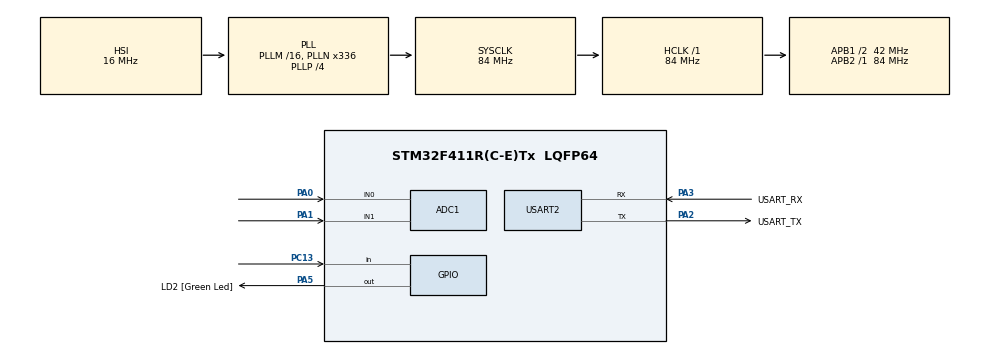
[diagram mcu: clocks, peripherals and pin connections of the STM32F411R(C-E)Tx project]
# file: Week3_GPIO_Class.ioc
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ADC1.Channel-0\#ChannelRegularConversion=ADC_CHANNEL_0
ADC1.NbrOfConversionFlag=1
ADC1.Rank-0\#ChannelRegularConversion=1
ADC1.SamplingTime-0\#ChannelRegularConversion=ADC_SAMPLETIME_3CYCLES
ADC1.master=1
Mcu.Family=STM32F4
Mcu.Name=STM32F411R(C-E)Tx
Mcu.Package=LQFP64
NVIC.PriorityGroup=NVIC_PRIORITYGROUP_0
PA0-WKUP.Signal=ADCx_IN0
PA1.Signal=ADCx_IN1
PA13.GPIO_Label=TMS
PA13.Mode=Serial_Wire
PA13.Signal=SYS_JTMS-SWDIO
PA14.GPIO_Label=TCK
PA14.Mode=Serial_Wire
PA14.Signal=SYS_JTCK-SWCLK
PA2.GPIO_Label=USART_TX
PA2.Mode=Asynchronous
PA2.Signal=USART2_TX
PA3.GPIO_Label=USART_RX
PA3.Mode=Asynchronous
PA3.Signal=USART2_RX
PA5.GPIO_Label=LD2 [Green Led]
PA5.Signal=GPIO_Output
PB3.GPIO_Label=SWO
PB3.Signal=SYS_JTDO-SWO
PC13-ANTI_TAMP.Signal=GPIO_Input
PC14-OSC32_IN.Mode=LSE-External-Oscillator
PC14-OSC32_IN.Signal=RCC_OSC32_IN
PC15-OSC32_OUT.Mode=LSE-External-Oscillator
PC15-OSC32_OUT.Signal=RCC_OSC32_OUT
PH0\ -\ OSC_IN.Mode=HSE-External-Clock-Source
PH0\ -\ OSC_IN.Signal=RCC_OSC_IN
PH1\ -\ OSC_OUT.Mode=HSE-External-Clock-Source
PH1\ -\ OSC_OUT.Signal=RCC_OSC_OUT
ProjectManager.HeapSize=0x200
ProjectManager.StackSize=0x400
ProjectManager.TargetToolchain=STM32CubeIDE
RCC.48MHZClocksFreq_Value=84000000
RCC.AHBFreq_Value=84000000
RCC.APB1CLKDivider=RCC_HCLK_DIV2
RCC.APB1Freq_Value=42000000
RCC.APB1TimFreq_Value=84000000
RCC.APB2Freq_Value=84000000
RCC.APB2TimFreq_Value=84000000
RCC.CortexFreq_Value=84000000
RCC.FLatency-AdvancedSettings=FLASH_LATENCY_2
RCC.HCLKFreq_Value=84000000
RCC.HSE_VALUE=8000000
RCC.HSI_VALUE=16000000
RCC.PLLN=336
RCC.PLLP=RCC_PLLP_DIV4
RCC.SYSCLKFreq_VALUE=84000000
RCC.SYSCLKSource=RCC_SYSCLKSOURCE_PLLCLK
RCC.VCOOutputFreq_Value=336000000
SH.ADCx_IN0.0=ADC1_IN0,IN0
SH.ADCx_IN1.0=ADC1_IN1,IN1
USART2.VirtualMode=VM_ASYNC
VP_ADC1_TempSens_Input.Mode=IN-TempSens
board=NUCLEO-F411RE

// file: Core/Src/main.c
/* USER CODE BEGIN Header */
/**
  ******************************************************************************
  * @file           : main.c
  * @brief          : Main program body
  ******************************************************************************
  * @attention
  *
  * <h2><center>&copy; Copyright (c) 2021 STMicroelectronics.
  * All rights reserved.</center></h2>
  *
  * This software component is licensed by ST under BSD 3-Clause license,
  * the "License"; You may not use this file except in compliance with the
  * License. You may obtain a copy of the License at:
  *                        opensource.org/licenses/BSD-3-Clause
  *
  ******************************************************************************
  */
/* USER CODE END Header */
#include "main.h"

ADC_HandleTypeDef hadc1;

UART_HandleTypeDef huart2;

/* USER CODE BEGIN PV */
uint16_t adcdata[2] = { 0 };
typedef struct
{
	ADC_ChannelConfTypeDef Config;
	uint32_t Data;
} ADCStructure;

ADCStructure ADCChannel[3]={0};
GPIO_PinState SwitchState[2];
uint16_t ADCOutputConverted =0;
uint16_t ADCMode =1;

/* USER CODE END PV */

void SystemClock_Config(void);
static void MX_GPIO_Init(void);
static void MX_USART2_UART_Init(void);
static void MX_ADC1_Init(void);
/* USER CODE BEGIN PFP */
void ADCPollingMethodInit();
void ADCPollingMethodUpdate();
/* USER CODE END PFP */

int main(void)
{

  /* MCU Configuration--------------------------------------------------------*/

  /* Reset of all peripherals, Initializes the Flash interface and the Systick. */
  HAL_Init();

  /* Configure the system clock */
  SystemClock_Config();

  /* Initialize all configured peripherals */
  MX_GPIO_Init();
  MX_USART2_UART_Init();
  MX_ADC1_Init();
  /* USER CODE BEGIN 2 */
  ADCPollingMethodInit();

  /* USER CODE END 2 */

  /* Infinite loop */
  while (1)
  {

    /* USER CODE BEGIN 3 */
	  //read analog
	  ADCPollingMethodUpdate();
	  SwitchState[0] = HAL_GPIO_ReadPin(GPIOC, GPIO_PIN_13);
	  if (SwitchState[1] == GPIO_PIN_RESET && SwitchState[0] == GPIO_PIN_SET){
		  if (ADCMode ==1){
			  ADCMode =0;
		  }
		  else{
			  ADCMode =1;
		  }
	  }
	  SwitchState[1] = SwitchState[0];

	  //ADCMode
	  if (ADCMode == 0){
		  ADCOutputConverted = ((ADCChannel[0].Data*3300)/4096);
	  }
	  else{
		  ADCOutputConverted = ((((ADCChannel[2].Data*3.3)/4096)-0.76)/0.0025)+25;
	  }
  }
  /* USER CODE END 3 */
}

void SystemClock_Config(void)
{
  RCC_OscInitTypeDef RCC_OscInitStruct = {0};
  RCC_ClkInitTypeDef RCC_ClkInitStruct = {0};

  /** Configure the main internal regulator output voltage
  */
  __HAL_RCC_PWR_CLK_ENABLE();
  __HAL_PWR_VOLTAGESCALING_CONFIG(PWR_REGULATOR_VOLTAGE_SCALE1);
  /** Initializes the RCC Oscillators according to the specified parameters
  * in the RCC_OscInitTypeDef structure.
  */
  RCC_OscInitStruct.OscillatorType = RCC_OSCILLATORTYPE_HSI;
  RCC_OscInitStruct.HSIState = RCC_HSI_ON;
  RCC_OscInitStruct.HSICalibrationValue = RCC_HSICALIBRATION_DEFAULT;
  RCC_OscInitStruct.PLL.PLLState = RCC_PLL_ON;
  RCC_OscInitStruct.PLL.PLLSource = RCC_PLLSOURCE_HSI;
  RCC_OscInitStruct.PLL.PLLM = 16;
  RCC_OscInitStruct.PLL.PLLN = 336;
  RCC_OscInitStruct.PLL.PLLP = RCC_PLLP_DIV4;
  RCC_OscInitStruct.PLL.PLLQ = 4;
  if (HAL_RCC_OscConfig(&RCC_OscInitStruct) != HAL_OK)
  {
    Error_Handler();
  }
  /** Initializes the CPU, AHB and APB buses clocks
  */
  RCC_ClkInitStruct.ClockType = RCC_CLOCKTYPE_HCLK|RCC_CLOCKTYPE_SYSCLK
                              |RCC_CLOCKTYPE_PCLK1|RCC_CLOCKTYPE_PCLK2;
  RCC_ClkInitStruct.SYSCLKSource = RCC_SYSCLKSOURCE_PLLCLK;
  RCC_ClkInitStruct.AHBCLKDivider = RCC_SYSCLK_DIV1;
  RCC_ClkInitStruct.APB1CLKDivider = RCC_HCLK_DIV2;
  RCC_ClkInitStruct.APB2CLKDivider = RCC_HCLK_DIV1;

  if (HAL_RCC_ClockConfig(&RCC_ClkInitStruct, FLASH_LATENCY_2) != HAL_OK)
  {
    Error_Handler();
  }
}

static void MX_ADC1_Init(void)
{

  ADC_ChannelConfTypeDef sConfig = {0};

  /** Configure the global features of the ADC (Clock, Resolution, Data Alignment and number of conversion)
  */
  hadc1.Instance = ADC1;
  hadc1.Init.ClockPrescaler = ADC_CLOCK_SYNC_PCLK_DIV4;
  hadc1.Init.Resolution = ADC_RESOLUTION_12B;
  hadc1.Init.ScanConvMode = DISABLE;
  hadc1.Init.ContinuousConvMode = DISABLE;
  hadc1.Init.DiscontinuousConvMode = DISABLE;
  hadc1.Init.ExternalTrigConvEdge = ADC_EXTERNALTRIGCONVEDGE_NONE;
  hadc1.Init.ExternalTrigConv = ADC_SOFTWARE_START;
  hadc1.Init.DataAlign = ADC_DATAALIGN_RIGHT;
  hadc1.Init.NbrOfConversion = 1;
  hadc1.Init.DMAContinuousRequests = DISABLE;
  hadc1.Init.EOCSelection = ADC_EOC_SINGLE_CONV;
  if (HAL_ADC_Init(&hadc1) != HAL_OK)
  {
    Error_Handler();
  }
  /** Configure for the selected ADC regular channel its corresponding rank in the sequencer and its sample time.
  */
  sConfig.Channel = ADC_CHANNEL_0;
  sConfig.Rank = 1;
  sConfig.SamplingTime = ADC_SAMPLETIME_3CYCLES;
  if (HAL_ADC_ConfigChannel(&hadc1, &sConfig) != HAL_OK)
  {
    Error_Handler();
  }

}

static void MX_USART2_UART_Init(void)
{

  huart2.Instance = USART2;
  huart2.Init.BaudRate = 115200;
  huart2.Init.WordLength = UART_WORDLENGTH_8B;
  huart2.Init.StopBits = UART_STOPBITS_1;
  huart2.Init.Parity = UART_PARITY_NONE;
  huart2.Init.Mode = UART_MODE_TX_RX;
  huart2.Init.HwFlowCtl = UART_HWCONTROL_NONE;
  huart2.Init.OverSampling = UART_OVERSAMPLING_16;
  if (HAL_UART_Init(&huart2) != HAL_OK)
  {
    Error_Handler();
  }

}

static void MX_GPIO_Init(void)
{
  GPIO_InitTypeDef GPIO_InitStruct = {0};

  /* GPIO Ports Clock Enable */
  __HAL_RCC_GPIOC_CLK_ENABLE();
  __HAL_RCC_GPIOH_CLK_ENABLE();
  __HAL_RCC_GPIOA_CLK_ENABLE();
  __HAL_RCC_GPIOB_CLK_ENABLE();

  /*Configure GPIO pin Output Level */
  HAL_GPIO_WritePin(LD2_GPIO_Port, LD2_Pin, GPIO_PIN_RESET);

  /*Configure GPIO pin : PC13 */
  GPIO_InitStruct.Pin = GPIO_PIN_13;
  GPIO_InitStruct.Mode = GPIO_MODE_INPUT;
  GPIO_InitStruct.Pull = GPIO_NOPULL;
  HAL_GPIO_Init(GPIOC, &GPIO_InitStruct);

  /*Configure GPIO pin : LD2_Pin */
  GPIO_InitStruct.Pin = LD2_Pin;
  GPIO_InitStruct.Mode = GPIO_MODE_OUTPUT_PP;
  GPIO_InitStruct.Pull = GPIO_NOPULL;
  GPIO_InitStruct.Speed = GPIO_SPEED_FREQ_LOW;
  HAL_GPIO_Init(LD2_GPIO_Port, &GPIO_InitStruct);

}

/* USER CODE BEGIN 4 */

void ADCPollingMethodInit() {
	//config all ADC Channel
	ADCChannel[0].Config.Channel = ADC_CHANNEL_0;
	ADCChannel[0].Config.Rank = 1;
	ADCChannel[0].Config.SamplingTime = ADC_SAMPLETIME_3CYCLES;
//	//PA1 - ADC IN1
//	ADCChannel[1].Config.Channel = ADC_CHANNEL_1;
//	ADCChannel[1].Config.Rank = 1;
//	ADCChannel[1].Config.SamplingTime = ADC_SAMPLETIME_3CYCLES;
	//Temp
	ADCChannel[2].Config.Channel = ADC_CHANNEL_TEMPSENSOR;
	ADCChannel[2].Config.Rank = 1;
	ADCChannel[2].Config.SamplingTime = ADC_SAMPLETIME_3CYCLES;
}
void ADCPollingMethodUpdate() //Read ADC From 3 Source(In0,In1,Temp)
{
	for (int i = 0; i < 3; i++) {
		//select channel
		HAL_ADC_ConfigChannel(&hadc1, &ADCChannel[i].Config);
		//	HAL_ADC_ConfigChannel(&hadc1, sConfig)
		//ADC Sampling ,Convert
		HAL_ADC_Start(&hadc1);
		//Wait ADC
		if (HAL_ADC_PollForConversion(&hadc1, 10) == HAL_OK)
		{
			//Get Value
			ADCChannel[i].Data = HAL_ADC_GetValue(&hadc1);
		}
		//Stop
		HAL_ADC_Stop(&hadc1);
	}
}
/* USER CODE END 4 */

void Error_Handler(void)
{
  __disable_irq();
  while (1)
  {
  }
}

/************************ (C) COPYRIGHT STMicroelectronics *****END OF FILE****/
